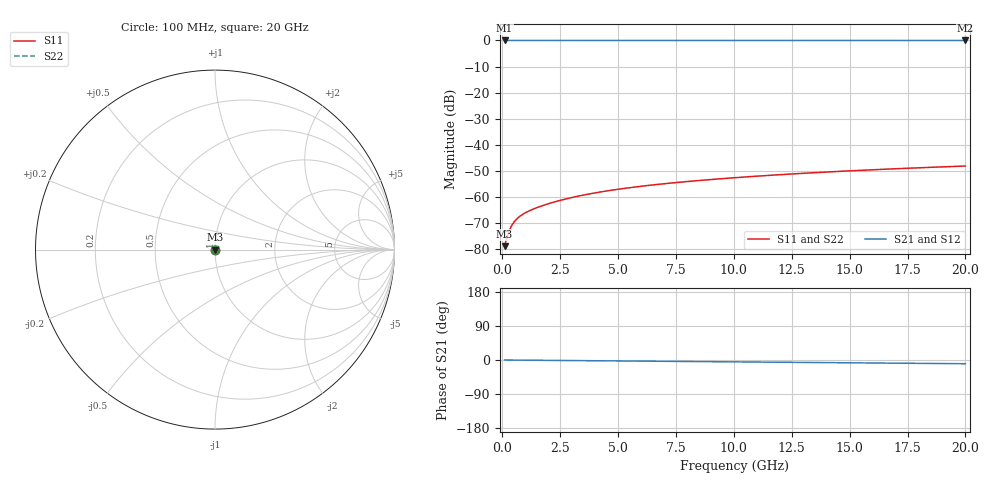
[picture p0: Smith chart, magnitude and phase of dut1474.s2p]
! Touchstone file exported from HFSS 2026.1.0
!  File:  C:/ffzhzh/LocalFiles/Ansys_Project_Files/temp_train_TSV_1474_1783198414_22436.aedt
!  Generated:  04:54:56 AM Jul  5, 2026
!  Design:  TSV
!  Project:  temp_train_TSV_1474_1783198414_22436
! Variables:
!  h_bsmrdl = 2um
!  h_ox = 20um
!  h_rdl = 5um
!  h_sub = 98.59um
!  h_tmrdl = 5um
!  h_tsv = 98.59um
!  h_via = 3um
!  l_bsmrdl = 300um
!  l_sub = 427.38um
!  l_tmrdl = 200um
!  m_sub = 200um
!  pitch = 56.21um
!  r_tsv = 13.69um
!  s_tmrdl = 10um
!  w_bsmrdl = 18um
!  w_sub = 500um
!  w_tmrdl = 12um
!  x_tsv_center1 = 206um
!  x_tsv_center2 = 524um
!  x_tsv_center3 = 736um
!  x_tsv_center4 = 1054um
!  x_tsv_center5 = 1266um
!  x_tsv_center6 = 1584um
# GHz S MA R 50.000000
! Terminal data exported
! Port[1] = TSV1_1_T1
! Port[2] = TSV1_1_T2
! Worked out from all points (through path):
!   200 points, 100 MHz to 20 GHz, reference 50 ohm
!   highest |S21| = 0.00 dB at 100 MHz (marker M1); lowest = 0.0 dB at 20 GHz (marker M2)
!   group delay of S21, straight-line fit = 1.36 ps
!   lowest |S11| = -78.8 dB at 100 MHz (marker M3), VSWR 1.00, Z = 50 + j0.00674 ohm
!   |S11| at or under -10 dB: start of sweep to end of sweep
!   |S22| runs from -78.8 to -48.1 dB; largest |S21 - S12| = 2.1e-15
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0.1  0.0001145 36.1  0.9999 -0.1  0.9999 -0.1  0.0001145 36.1
! Gamma 0 0 0 0
! Port Impedance 50 0 50 0
0.2  0.0001697 50.1  0.9999 -0.1  0.9999 -0.1  0.0001697 50.1
0.3  0.0002277 54.5  0.9999 -0.2  0.9999 -0.2  0.0002277 54.5
0.4  0.0002814 55.5  0.9998 -0.2  0.9998 -0.2  0.0002814 55.5
0.5  0.0003291 55.5  0.9998 -0.3  0.9998 -0.3  0.0003291 55.5
0.6  0.0003711 55.2  0.9998 -0.3  0.9998 -0.3  0.0003711 55.2
0.7  0.0004083 54.8  0.9998 -0.4  0.9998 -0.4  0.0004082 54.8
0.9  0.0004722 54.5  0.9997 -0.5  0.9997 -0.5  0.0004722 54.5
1.1  0.0005276 54.7  0.9997 -0.6  0.9997 -0.6  0.0005276 54.7
1.3  0.0005786 55.2  0.9997 -0.7  0.9997 -0.7  0.0005786 55.2
1.9  0.0007225 57.3  0.9996 -0.9  0.9996 -0.9  0.0007225 57.3
2.7  0.0009092 59.7  0.9996 -1.3  0.9996 -1.3  0.0009092 59.7
3.5  0.00109 61.1  0.9995 -1.7  0.9995 -1.7  0.00109 61.1
4.2  0.001243 61.9  0.9995 -2.1  0.9995 -2.1  0.001243 61.8
5  0.00141 62.4  0.9994 -2.5  0.9994 -2.5  0.00141 62.4
5.9  0.001589 62.8  0.9993 -2.9  0.9993 -2.9  0.00159 62.8
6.8  0.001762 63.1  0.9993 -3.4  0.9993 -3.4  0.001762 63.1
8.3  0.002039 63.5  0.9992 -4.1  0.9992 -4.1  0.002039 63.5
10.1  0.002358 63.7  0.9991 -5.0  0.9991 -5.0  0.002358 63.7
13.4  0.002916 63.7  0.999 -6.6  0.999 -6.6  0.002917 63.7
16.7  0.003441 63.1  0.9989 -8.2  0.9989 -8.2  0.003441 63.1
20  0.003925 62.3  0.9988 -9.8  0.9988 -9.8  0.003926 62.3
